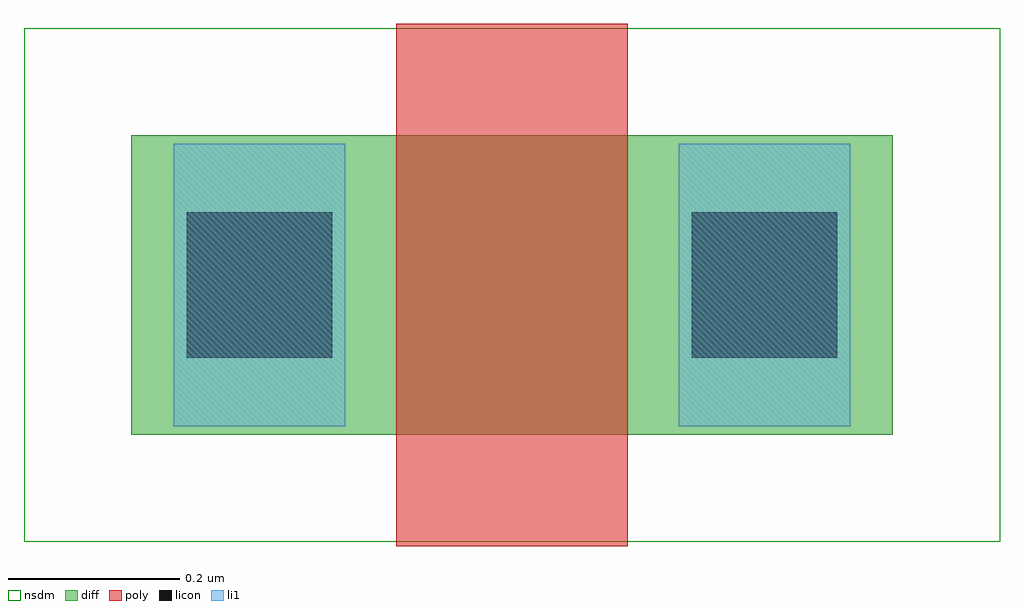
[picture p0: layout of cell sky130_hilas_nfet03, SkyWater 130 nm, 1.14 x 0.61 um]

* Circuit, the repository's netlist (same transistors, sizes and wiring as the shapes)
* Copyright 2020 The Hilas PDK Authors
* 
* This file is part of HILAS.
* 
* HILAS is free software: you can redistribute it and/or modify
* it under the terms of the GNU Lesser General Public License as published by
* the Free Software Foundation, version 3 of the License.
* 
* HILAS is distributed in the hope that it will be useful,
* but WITHOUT ANY WARRANTY; without even the implied warranty of
* MERCHANTABILITY or FITNESS FOR A PARTICULAR PURPOSE.  See the
* GNU Lesser General Public License for more details.
* 
* You should have received a copy of the GNU Lesser General Public License
* along with HILAS.  If not, see <https://www.gnu.org/licenses/>.
* 
* Licensed under the Lesser General Public License, Version 3.0 (the "License");
* you may not use this file except in compliance with the License.
* You may obtain a copy of the License at
* 
* https://www.gnu.org/licenses/lgpl-3.0.en.html
* 
* Unless required by applicable law or agreed to in writing, software
* distributed under the License is distributed on an "AS IS" BASIS,
* WITHOUT WARRANTIES OR CONDITIONS OF ANY KIND, either express or implied.
* See the License for the specific language governing permissions and
* limitations under the License.
* 
* SPDX-License-Identifier: LGPL-3.0
* 
* 

* NGSPICE file created from sky130_hilas_nFET03.ext - technology: sky130A


* Top level circuit sky130_hilas_nFET03

X0 a_54_n12# a_0_n38# a_n62_n12# SUB sky130_fd_pr__nfet_01v8 w=350000u l=270000u
.end

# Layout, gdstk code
import gdstk
lib = gdstk.Library(unit=1e-6, precision=1e-09)
def R(c, l, rs):  # rectangles x0, y0, x1, y1
    for r in rs: c.add(gdstk.rectangle(r[:2], r[2:], *l))
diff = (65, 20)
poly = (66, 20)
licon = (66, 44)
li1 = (67, 20)
nsdm = (93, 44)

sky130_hilas_nfet03 = lib.new_cell('sky130_hilas_nfet03')
R(sky130_hilas_nfet03, diff, [(-0.31,-0.06,0.58,0.29)])
R(sky130_hilas_nfet03, poly, [(0,-0.19,0.27,0.42)])
R(sky130_hilas_nfet03, licon, [(-0.245,0.03,-0.075,0.2), (0.345,0.03,0.515,0.2)])
R(sky130_hilas_nfet03, li1, [(-0.26,-0.05,-0.06,0.28), (0.33,-0.05,0.53,0.28)])
R(sky130_hilas_nfet03, nsdm, [(-0.435,-0.185,0.705,0.415)])

lib.write_gds('sky130_hilas_nfet03.gds')
